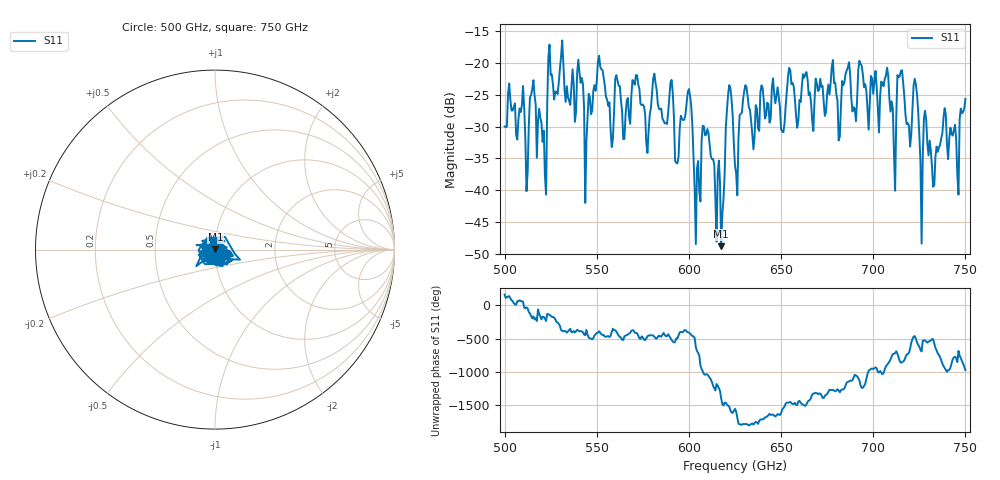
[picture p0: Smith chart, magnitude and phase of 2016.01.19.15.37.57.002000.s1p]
!Created with skrf (http://scikit-rf.org).
# GHz S RI R 50.0
!freq ReS11 ImS11
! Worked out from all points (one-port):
!   401 points, 500 GHz to 750 GHz, reference 50 ohm
!   lowest |S11| = -48.8 dB at 617.5 GHz (marker M1), VSWR 1.01, Z = 50.3 + j0.238 ohm
!   |S11| at or under -10 dB: start of sweep to end of sweep
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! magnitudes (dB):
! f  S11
! 500 GHz  -30.0
! 511.9 GHz  -40.2
! 515 GHz  -24.1
! 521.2 GHz  -30.7
! 524.4 GHz  -17.1
! 531.2 GHz  -16.5
! 544.4 GHz  -32.4
! 551.9 GHz  -20.6
! 562.5 GHz  -23.6
! 590.6 GHz  -22.7
! 593.8 GHz  -35.8
! 600 GHz  -24.1
! 604.4 GHz  -36.6
! 608.8 GHz  -31.4
! 617.5 GHz  -48.8
! 621.9 GHz  -23.5
! 625 GHz  -36.1
! 630.6 GHz  -23.5
! 656.2 GHz  -23.2
! 687.5 GHz  -22.0
! 706.9 GHz  -22.1
! 711.2 GHz  -34.3
! 714.4 GHz  -22.1
! 718.8 GHz  -29.5
! 723.1 GHz  -23.4
! 725.6 GHz  -35.6
! 732.5 GHz  -39.5
! 750 GHz  -25.7
